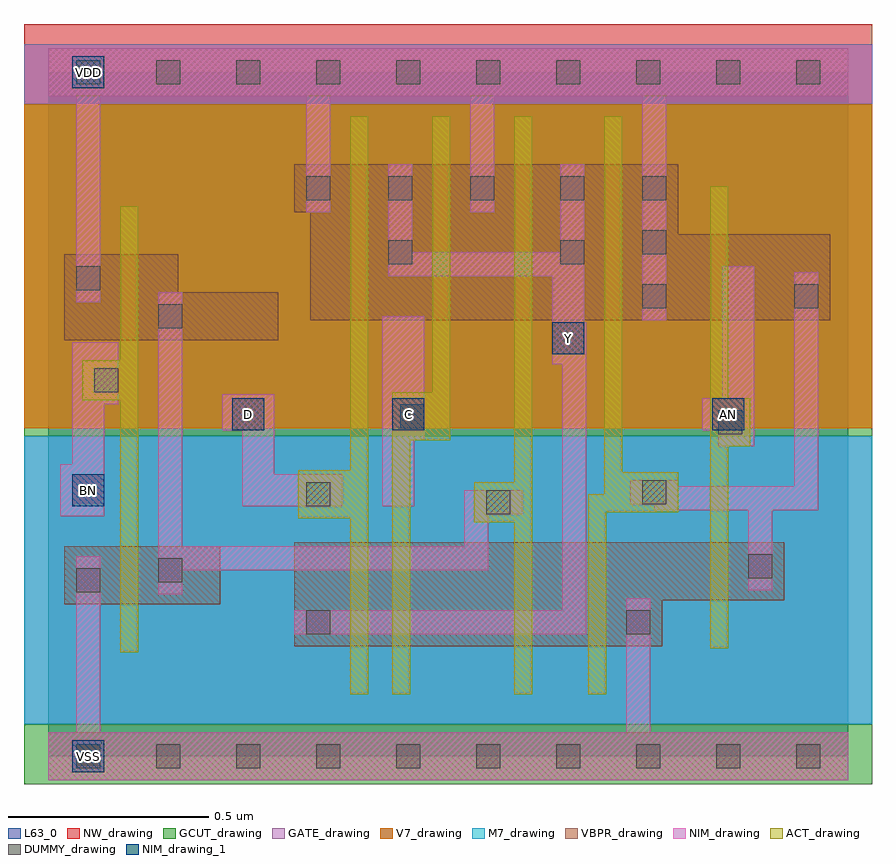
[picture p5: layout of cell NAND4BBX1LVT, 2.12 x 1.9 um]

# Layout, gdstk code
import gdstk
lib = gdstk.Library(unit=1e-6, precision=5e-10)
def R(c, l, rs):  # rectangles x0, y0, x1, y1
    for r in rs: c.add(gdstk.rectangle(r[:2], r[2:], *l))
def A(c, l, x, y, w, h, nx, ny, dx, dy):  # array of equal rectangles
    R(c, l, [(x+i*dx, y+j*dy, x+i*dx+w, y+j*dy+h) for i in range(nx) for j in range(ny)])
def P(c, l, *ps):  # polygons
    for p in ps: c.add(gdstk.Polygon(p, *l))
VBPR_drawing = (1, 0)
NW_drawing = (2, 0)
ACT_drawing = (3, 0)
GATE_drawing = (4, 0)
GCUT_drawing = (5, 0)
DUMMY_drawing = (6, 0)
NIM_drawing = (7, 0)
NIM_drawing_1 = (7, 1)
M7_drawing = (26, 0)
V7_drawing = (27, 0)
L63_0 = (63, 0)

nand4bbx1lvt = lib.new_cell('NAND4BBX1LVT')
R(nand4bbx1lvt, VBPR_drawing, [(0,-0.06,2,0.06), (0.04,0.38,0.43,0.525), (0,1.65,2,1.77)])
P(nand4bbx1lvt, VBPR_drawing, [(0.615,1.48),(1.575,1.48),(1.575,1.305),(1.955,1.305),(1.955,1.09),(0.655,1.09),(0.655,1.36),(0.615,1.36)],
  [(0.04,1.255),(0.325,1.255),(0.325,1.16),(0.575,1.16),(0.575,1.04),(0.04,1.04)],
  [(0.615,0.535),(1.84,0.535),(1.84,0.39),(1.535,0.39),(1.535,0.275),(0.615,0.275)])
R(nand4bbx1lvt, NW_drawing, [(-0.06,0.82,2.06,1.83)])
P(nand4bbx1lvt, ACT_drawing, [(0.755,1.6),(0.8,1.6),(0.8,0.155),(0.755,0.155),(0.755,0.595),(0.625,0.595),(0.625,0.715),(0.755,0.715)],
  [(0.96,1.6),(1.005,1.6),(1.005,0.79),(0.905,0.79),(0.905,0.155),(0.86,0.155),(0.86,0.91),(0.96,0.91)],
  [(1.165,1.6),(1.21,1.6),(1.21,0.155),(1.165,0.155),(1.165,0.585),(1.065,0.585),(1.065,0.685),(1.165,0.685)],
  [(1.39,1.6),(1.435,1.6),(1.435,0.71),(1.575,0.71),(1.575,0.61),(1.395,0.61),(1.395,0.155),(1.35,0.155),(1.35,0.655),(1.39,0.655)],
  [(0.18,1.375),(0.225,1.375),(0.225,0.26),(0.18,0.26),(0.18,0.89),(0.085,0.89),(0.085,0.99),(0.18,0.99)],
  [(1.655,1.425),(1.7,1.425),(1.7,0.895),(1.755,0.895),(1.755,0.775),(1.7,0.775),(1.7,0.27),(1.655,0.27)])
R(nand4bbx1lvt, GATE_drawing, [(-0.06,0.08,2.06,0.8), (-0.06,1.63,2.06,1.78)])
R(nand4bbx1lvt, GCUT_drawing, [(-0.06,-0.07,2.06,0.08), (-0.06,0.8,2.06,1.63)])
A(nand4bbx1lvt, DUMMY_drawing, 0.07, -0.03, 0.06, 0.06, 10, 2, 0.2, 1.71)
A(nand4bbx1lvt, DUMMY_drawing, 1.485, 1.12, 0.06, 0.06, 1, 3, 0, 0.135)
A(nand4bbx1lvt, DUMMY_drawing, 0.645, 1.39, 0.06, 0.06, 3, 1, 0.205, 0)
R(nand4bbx1lvt, DUMMY_drawing, [(0.645,0.305,0.705,0.365), (1.445,0.305,1.505,0.365), (0.07,0.41,0.13,0.47), (0.275,0.435,0.335,0.495), (1.75,0.445,1.81,0.505), (1.095,0.605,1.155,0.665), (0.645,0.625,0.705,0.685), (1.485,0.63,1.545,0.69), (1.675,0.805,1.735,0.865), (0.88,0.82,0.94,0.88), (0.115,0.91,0.175,0.97), (0.275,1.07,0.335,1.13), (1.865,1.12,1.925,1.18), (0.07,1.165,0.13,1.225), (0.85,1.23,0.91,1.29), (1.28,1.23,1.34,1.29), (1.28,1.39,1.34,1.45)])
R(nand4bbx1lvt, NIM_drawing, [(0.07,0.06,0.13,0.5), (1.445,0.06,1.505,0.395), (1.485,1.09,1.545,1.65), (0.07,1.135,0.13,1.65), (0.645,1.36,0.705,1.65), (1.055,1.36,1.115,1.65)])
P(nand4bbx1lvt, NIM_drawing, [(0.85,1.48),(0.91,1.48),(0.91,1.26),(1.28,1.26),(1.28,1.48),(1.34,1.48),(1.34,1.085),(1.345,1.085),(1.345,0.305),(0.615,0.305),(0.615,0.365),(1.285,0.365),(1.285,0.98),(1.26,0.98),(1.26,1.2),(0.85,1.2)],
  [(0.275,1.16),(0.335,1.16),(0.335,0.525),(1.04,0.525),(1.04,0.665),(1.185,0.665),(1.185,0.605),(1.1,0.605),(1.1,0.465),(0.335,0.465),(0.335,0.405),(0.275,0.405)],
  [(1.455,0.69),(1.575,0.69),(1.575,0.675),(1.865,0.675),(1.865,1.21),(1.925,1.21),(1.925,0.615),(1.81,0.615),(1.81,0.415),(1.75,0.415),(1.75,0.615),(1.515,0.615),(1.515,0.63),(1.455,0.63)],
  [(0.06,1.035),(0.175,1.035),(0.175,0.88),(0.14,0.88),(0.14,0.6),(0.03,0.6),(0.03,0.73),(0.06,0.73)],
  [(0.435,0.905),(0.565,0.905),(0.565,0.705),(0.735,0.705),(0.735,0.625),(0.485,0.625),(0.485,0.815),(0.435,0.815)],
  [(0.835,1.1),(0.94,1.1),(0.94,0.79),(0.915,0.79),(0.915,0.625),(0.835,0.625)],
  [(1.685,1.225),(1.765,1.225),(1.765,0.775),(1.675,0.775),(1.675,0.815),(1.635,0.815),(1.635,0.895),(1.685,0.895)])
R(nand4bbx1lvt, NIM_drawing_1, [(0.06,-0.04,0.14,0.04), (0.06,0.625,0.14,0.705), (0.46,0.815,0.54,0.895), (0.86,0.815,0.94,0.895), (1.66,0.815,1.74,0.895), (1.26,1.005,1.34,1.085), (0.06,1.67,0.14,1.75)])
R(nand4bbx1lvt, M7_drawing, [(-0.06,0.08,2.06,0.8)])
R(nand4bbx1lvt, V7_drawing, [(-0.06,0.82,2.06,1.63)])
R(nand4bbx1lvt, L63_0, [(0,0,2,1.71)])
nand4bbx1lvt.add(gdstk.FlexPath([(0,0),(2,0)], 0.12, ends="flush", simple_path=True, layer=7, datatype=0))  # NIM_drawing
nand4bbx1lvt.add(gdstk.FlexPath([(0,1.71),(2,1.71)], 0.12, ends="flush", simple_path=True, layer=7, datatype=0))  # NIM_drawing
nand4bbx1lvt.add(gdstk.Label('Y', (1.3,1.045), layer=7, texttype=1))
nand4bbx1lvt.add(gdstk.Label('D', (0.5,0.855), layer=7, texttype=1))
nand4bbx1lvt.add(gdstk.Label('C', (0.9,0.855), layer=7, texttype=1))
nand4bbx1lvt.add(gdstk.Label('AN', (1.7,0.855), layer=7, texttype=1))
nand4bbx1lvt.add(gdstk.Label('BN', (0.1,0.665), layer=7, texttype=1))
nand4bbx1lvt.add(gdstk.Label('VDD', (0.1,1.71), layer=7, texttype=1))
nand4bbx1lvt.add(gdstk.Label('VSS', (0.1,0), layer=7, texttype=1))
nand4bbx1lvt.add(gdstk.Label('VSS', (0.1,0), layer=7, texttype=1))
nand4bbx1lvt.add(gdstk.Label('VDD', (0.1,1.71), layer=7, texttype=1))
nand4bbx1lvt.add(gdstk.Label('BN', (0.1,0.665), layer=7, texttype=1))
nand4bbx1lvt.add(gdstk.Label('AN', (1.7,0.855), layer=7, texttype=1))
nand4bbx1lvt.add(gdstk.Label('C', (0.9,0.855), layer=7, texttype=1))
nand4bbx1lvt.add(gdstk.Label('D', (0.5,0.855), layer=7, texttype=1))
nand4bbx1lvt.add(gdstk.Label('Y', (1.3,1.045), layer=7, texttype=1))
nand4bbx1lvt.add(gdstk.Label('NAND4BBX1', (0,0), layer=63, texttype=0))

lib.write_gds('NAND4BBX1LVT.gds')
